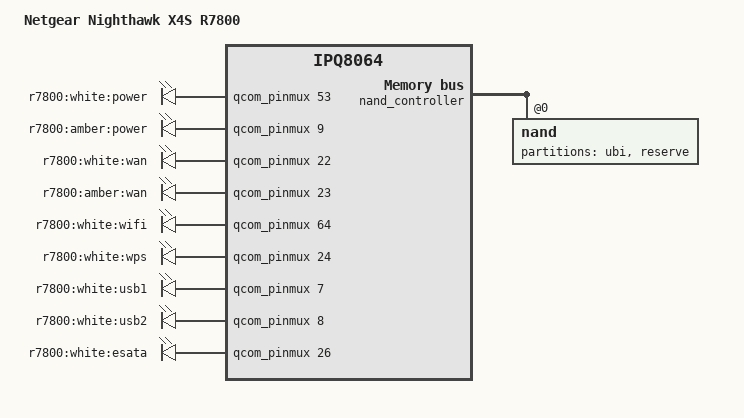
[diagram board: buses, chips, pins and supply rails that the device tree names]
#include "qcom-ipq8065-nighthawk.dtsi"

/ {
        model = "Netgear Nighthawk X4S R7800";
        compatible = "netgear,r7800", "qcom,ipq8065", "qcom,ipq8064";

        aliases {
                led-boot = &led_power_white;
                led-failsafe = &led_power_amber;
                led-running = &led_power_white;
                led-upgrade = &led_power_amber;
        };

        leds {
        led_power_white: power_white {
                        label = "r7800:white:power";
                        gpios = <&qcom_pinmux 53 GPIO_ACTIVE_HIGH>;
                        default-state = "keep";
                };

                led_power_amber: power_amber {
                        label = "r7800:amber:power";
                        gpios = <&qcom_pinmux 9 GPIO_ACTIVE_HIGH>;
                };

                wan_white {
                        label = "r7800:white:wan";
                        gpios = <&qcom_pinmux 22 GPIO_ACTIVE_HIGH>;
                };

                wan_amber {
                        label = "r7800:amber:wan";
                        gpios = <&qcom_pinmux 23 GPIO_ACTIVE_HIGH>;
                };

                wifi {
                        label = "r7800:white:wifi";
                        gpios = <&qcom_pinmux 64 GPIO_ACTIVE_HIGH>;
                };

                wps {
                        label = "r7800:white:wps";
                        gpios = <&qcom_pinmux 24 GPIO_ACTIVE_HIGH>;
                };
                usb1 {
                        label = "r7800:white:usb1";
                        gpios = <&qcom_pinmux 7 GPIO_ACTIVE_HIGH>;
                };

                usb2 {
                        label = "r7800:white:usb2";
                        gpios = <&qcom_pinmux 8 GPIO_ACTIVE_HIGH>;
                };

                esata {
                        label = "r7800:white:esata";
                        gpios = <&qcom_pinmux 26 GPIO_ACTIVE_HIGH>;
                };

        };
};

&nand_controller {
        nand@0 {
                partitions {
                        ubi@1880000 {
                                label = "ubi";
                                reg = <0x1880000 0x6080000>;
                        };

                        reserve@7900000 {
                                label = "reserve";
                                reg = <0x7900000 0x0700000>;
                                read-only;
                        };
                };
        };
};

